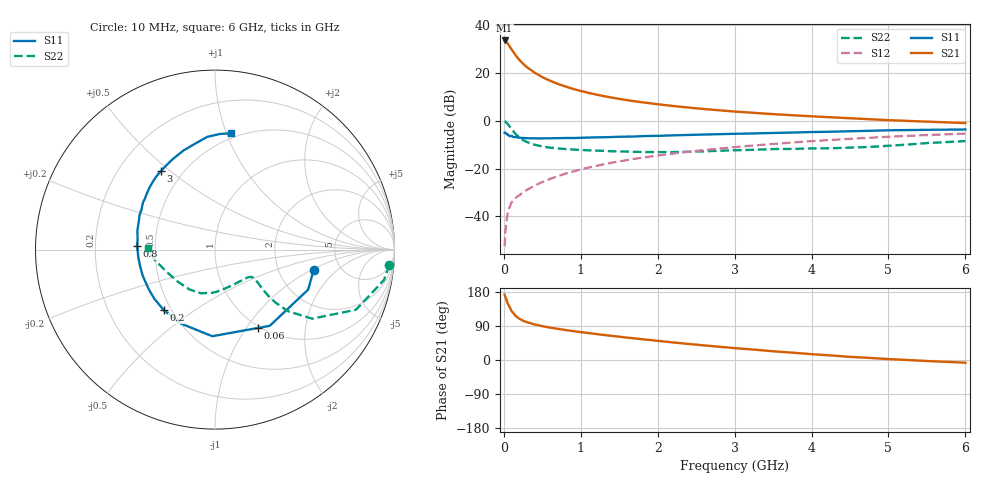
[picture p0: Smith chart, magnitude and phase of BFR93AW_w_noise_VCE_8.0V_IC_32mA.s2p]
! Infineon Technologies  Discrete & RF Semiconductors
! BFR93AW
! VCE =  8.0 V,  IC =  32 mA
! Common Emitter S-Parameters:  Jan 2017
# GHz  S  MA  R  50
!  f  S11  S21  S12  S22
! GHz  MAG  ANG  MAG  ANG  MAG  ANG  MAG  ANG
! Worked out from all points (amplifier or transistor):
!   77 points, 10 MHz to 6 GHz, reference 50 ohm
!   highest |S21| = 33.5 dB at 10 MHz (marker M1)
!   |S21| within 3 dB of that: start of sweep to 84.93 MHz
!   unconditionally stable (mu >= 1): 594.9 MHz to 2.045 GHz
!   at 130 MHz: K = 0.52, MSG = 30.7 dB, |S12| = -33.0 dB
!   at 2.2 GHz: K = 0.99, MSG = 9.9 dB, |S12| = -13.7 dB
!   at 6 GHz: K = 0.86, MSG = 2.2 dB, |S12| = -5.4 dB
!   lowest NFmin = 1.86 dB at 450 MHz
!   S11 on the Smith chart (normalised r, x): 10 MHz: 3.17, -1.05; 60 MHz: 0.98, -1.14; 200 MHz: 0.46, -0.38; 800 MHz: 0.39, +0.02; 3 GHz: 0.38, +0.46; 6 GHz: 0.46, +1.04
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0.01  0.5609 -11.7  47.23 172.6  0.0024 80.3  0.9754 -5.0
0.02  0.5652 -23.2  46.62 166.3  0.0048 84.6  0.9566 -10.2
0.05  0.5229 -54.3  41.01 148.7  0.0116 68.4  0.854 -23.1
0.06  0.4984 -61.1  38.66 145.6  0.0132 66.4  0.8135 -25.1
0.1  0.4829 -91.8  30.83 128.8  0.0196 61.8  0.6645 -35.4
0.15  0.4537 -115.0  23.52 116.9  0.0243 58.7  0.531 -40.2
0.2  0.4415 -130.5  18.67 109.2  0.0277 60.3  0.4481 -41.2
0.25  0.435 -141.1  15.43 103.7  0.0319 60.6  0.3946 -40.9
0.3  0.4303 -148.8  13.06 99.8  0.0358 62.5  0.3576 -40.1
0.4  0.4284 -159.9  10.04 93.7  0.0438 65.1  0.3143 -38.3
0.5  0.4272 -167.6  8.102 89.3  0.0525 67.2  0.2891 -37.1
0.6  0.4293 -173.6  6.817 85.5  0.0607 68.5  0.2736 -36.5
0.7  0.4305 -178.4  5.871 82.3  0.0691 69.6  0.2634 -36.3
0.8  0.4346 177.3  5.165 79.1  0.0784 70.3  0.2557 -36.8
1.1  0.4444 166.6  3.808 71.1  0.1051 70.2  0.2408 -40.1
1.5  0.4614 156.0  2.846 61.5  0.1415 68.5  0.2275 -48.0
2.1  0.4876 142.1  2.11 48.5  0.1966 64.7  0.2206 -65.7
3  0.532 124.6  1.552 31.3  0.2802 57.2  0.2414 -94.1
3.1  0.5354 122.8  1.513 29.8  0.2893 56.2  0.2431 -97.0
4.1  0.5824 106.4  1.21 14.1  0.3819 46.3  0.2639 -126.0
5.1  0.6322 92.6  1.01 1.4  0.4688 35.5  0.306 -159.6
6  0.6548 82.0  0.89 -7.1  0.5376 25.3  0.3754 178.9
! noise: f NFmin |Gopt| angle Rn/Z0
0.45  1.86  0.19  175  0.16
0.9  2.12  0.26  -174  0.16
1.9  3.16  0.51  -135  0.3
2.4  3.82  0.56  -124  0.57
